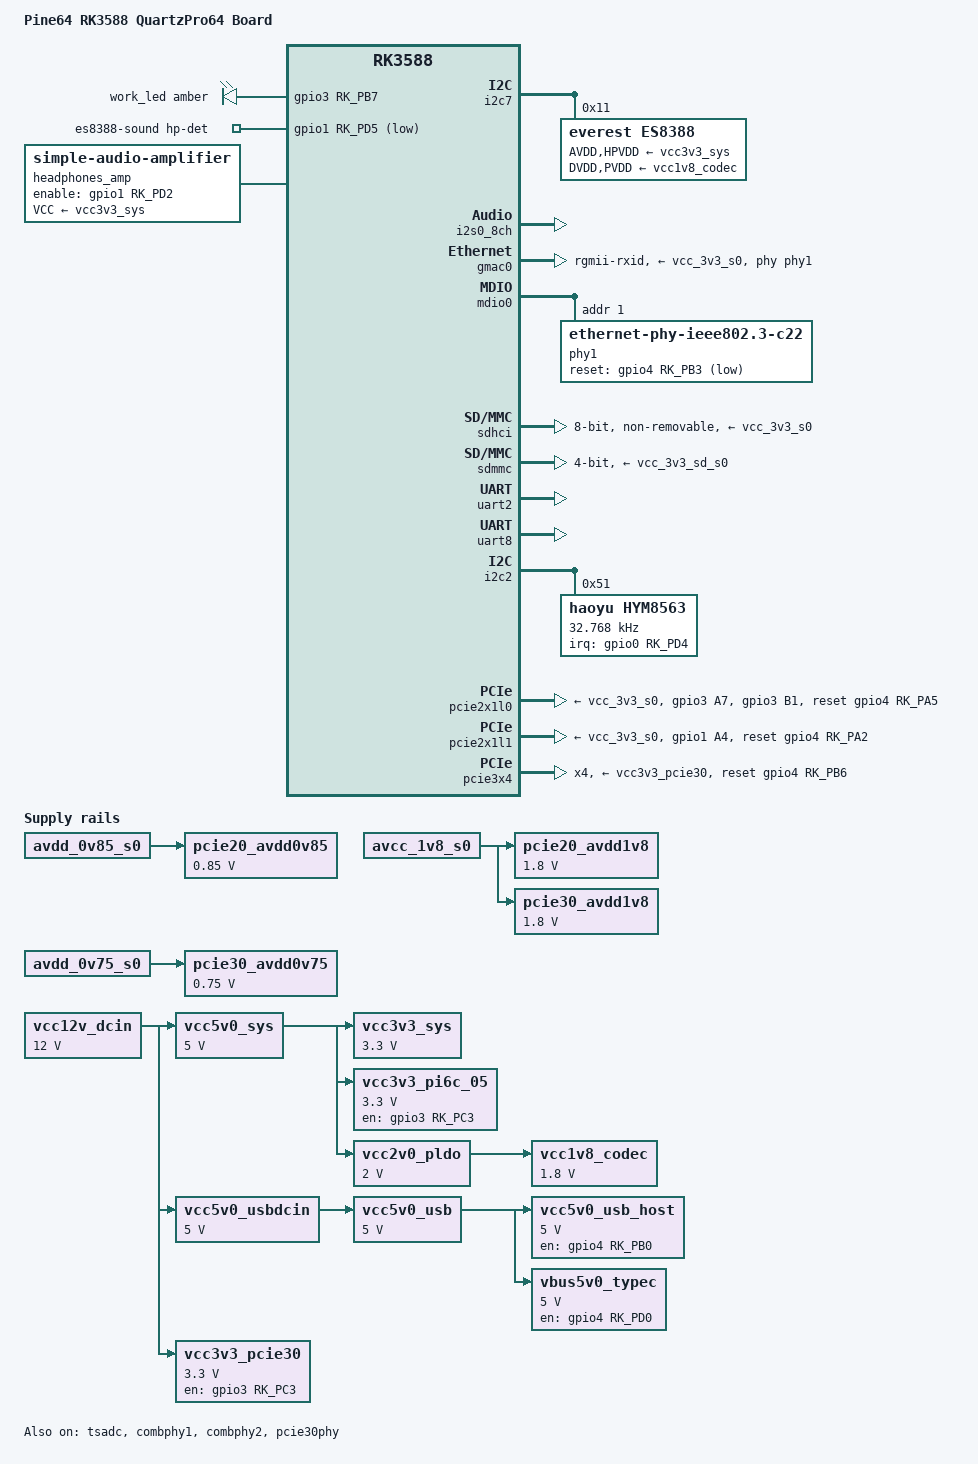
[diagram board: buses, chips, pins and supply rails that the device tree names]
// SPDX-License-Identifier: (GPL-2.0+ OR MIT)
/*
 * Copyright (c) 2021 Rockchip Electronics Co., Ltd.
 *
 */

/dts-v1/;

#include <dt-bindings/pinctrl/rockchip.h>
#include <dt-bindings/gpio/gpio.h>
#include <dt-bindings/leds/common.h>
#include <dt-bindings/interrupt-controller/irq.h>
#include "rk3588.dtsi"
#include "rk3588-rk806-dual.dtsi"

/ {
	model = "Pine64 RK3588 QuartzPro64 Board";
	compatible = "pine64,quartzpro64", "rockchip,rk3588";

	chosen {
		stdout-path = "serial2:1500000n8";
	};

	leds {
		compatible = "gpio-leds";
		work_led: led-0 {
			gpios = <&gpio3 RK_PB7 GPIO_ACTIVE_HIGH>;
			linux,default-trigger = "heartbeat";
			function = LED_FUNCTION_STATUS;
			color = <LED_COLOR_ID_AMBER>;
		};
	};

	vcc12v_dcin: vcc12v-dcin {
		compatible = "regulator-fixed";
		regulator-name = "vcc12v_dcin";
		regulator-always-on;
		regulator-boot-on;
		regulator-min-microvolt = <12000000>;
		regulator-max-microvolt = <12000000>;
	};

	vcc3v3_sys: vcc3v3-sys {
		compatible = "regulator-fixed";
		regulator-name = "vcc3v3_sys";
		regulator-boot-on;
		regulator-min-microvolt = <3300000>;
		regulator-max-microvolt = <3300000>;
		vin-supply = <&vcc5v0_sys>;
	};

	vcc5v0_sys: vcc5v0-sys {
		compatible = "regulator-fixed";
		regulator-name = "vcc5v0_sys";
		regulator-always-on;
		regulator-boot-on;
		regulator-min-microvolt = <5000000>;
		regulator-max-microvolt = <5000000>;
		vin-supply = <&vcc12v_dcin>;
	};

	vcc5v0_usbdcin: vcc5v0-usbdcin {
		compatible = "regulator-fixed";
		regulator-name = "vcc5v0_usbdcin";
		regulator-always-on;
		regulator-boot-on;
		regulator-min-microvolt = <5000000>;
		regulator-max-microvolt = <5000000>;
		vin-supply = <&vcc12v_dcin>;
	};

	vcc5v0_usb: vcc5v0-usb {
		compatible = "regulator-fixed";
		regulator-name = "vcc5v0_usb";
		regulator-always-on;
		regulator-boot-on;
		regulator-min-microvolt = <5000000>;
		regulator-max-microvolt = <5000000>;
		vin-supply = <&vcc5v0_usbdcin>;
	};

	vcc5v0_usb_host: vcc5v0-usb-host {
		compatible = "regulator-fixed";
		regulator-name = "vcc5v0_usb_host";
		regulator-boot-on;
		regulator-always-on;
		regulator-min-microvolt = <5000000>;
		regulator-max-microvolt = <5000000>;
		enable-active-high;
		gpio = <&gpio4 RK_PB0 GPIO_ACTIVE_HIGH>;
		vin-supply = <&vcc5v0_usb>;
		pinctrl-names = "default";
		pinctrl-0 = <&vcc5v0_usb_host_en_h>;
	};

	vcc3v3_pi6c_05: vcc3v3-pi6c-05-regulator {
		compatible = "regulator-fixed";
		regulator-name = "vcc3v3_pi6c_05";
		regulator-min-microvolt = <3300000>;
		regulator-max-microvolt = <3300000>;
		enable-active-high;
		gpios = <&gpio3 RK_PC3 GPIO_ACTIVE_HIGH>;
		startup-delay-us = <5000>;
		vin-supply = <&vcc5v0_sys>;
	};

	vcc3v3_pcie30: vcc3v3-pcie30-regulator {
		compatible = "regulator-fixed";
		regulator-name = "vcc3v3_pcie30";
		regulator-min-microvolt = <3300000>;
		regulator-max-microvolt = <3300000>;
		enable-active-high;
		pinctrl-0 = <&pcie30x4_pwren_h>;
		pinctrl-names = "default";
		gpios = <&gpio3 RK_PC3 GPIO_ACTIVE_HIGH>;
		startup-delay-us = <5000>;
		vin-supply = <&vcc12v_dcin>;
	};

	vbus5v0_typec: vbus5v0-typec {
		compatible = "regulator-fixed";
		regulator-name = "vbus5v0_typec";
		regulator-min-microvolt = <5000000>;
		regulator-max-microvolt = <5000000>;
		enable-active-high;
		gpio = <&gpio4 RK_PD0 GPIO_ACTIVE_HIGH>;
		vin-supply = <&vcc5v0_usb>;
		pinctrl-names = "default";
		pinctrl-0 = <&vcc5v0_usbc_host_en_h>;
	};

	pcie20_avdd0v85: pcie20-avdd0v85 {
		compatible = "regulator-fixed";
		regulator-name = "pcie20_avdd0v85";
		regulator-boot-on;
		regulator-always-on;
		regulator-min-microvolt = <850000>;
		regulator-max-microvolt = <850000>;
		vin-supply = <&avdd_0v85_s0>;
	};

	pcie20_avdd1v8: pcie20-avdd1v8 {
		compatible = "regulator-fixed";
		regulator-name = "pcie20_avdd1v8";
		regulator-boot-on;
		regulator-always-on;
		regulator-min-microvolt = <1800000>;
		regulator-max-microvolt = <1800000>;
		vin-supply = <&avcc_1v8_s0>;
	};

	pcie30_avdd0v75: pcie30-avdd0v75 {
		compatible = "regulator-fixed";
		regulator-name = "pcie30_avdd0v75";
		regulator-boot-on;
		regulator-always-on;
		regulator-min-microvolt = <750000>;
		regulator-max-microvolt = <750000>;
		vin-supply = <&avdd_0v75_s0>;
	};

	pcie30_avdd1v8: pcie30-avdd1v8 {
		compatible = "regulator-fixed";
		regulator-name = "pcie30_avdd1v8";
		regulator-boot-on;
		regulator-always-on;
		regulator-min-microvolt = <1800000>;
		regulator-max-microvolt = <1800000>;
		vin-supply = <&avcc_1v8_s0>;
	};

	vcc2v0_pldo: vcc2v0-pldo {
		compatible = "regulator-fixed";
		regulator-name = "vcc2v0_pldo";
		regulator-boot-on;
		regulator-always-on;
		regulator-min-microvolt = <2000000>;
		regulator-max-microvolt = <2000000>;
		vin-supply = <&vcc5v0_sys>;
	};

	vcc1v8_codec: vcc1v8-codec {
		compatible = "regulator-fixed";
		regulator-name = "vcc1v8_codec";
		regulator-boot-on;
		regulator-min-microvolt = <1800000>;
		regulator-max-microvolt = <1800000>;
		vin-supply = <&vcc2v0_pldo>;
	};

	es8388-sound {
		compatible = "simple-audio-card";
		pinctrl-names = "default";
		pinctrl-0 = <&hp_det_pin>;
		simple-audio-card,name = "Analog ES8388";
		simple-audio-card,format = "i2s";
		simple-audio-card,mclk-fs = <256>;
		simple-audio-card,widgets =
			"Microphone", "Mic Jack",
			"Headphone", "Headphones";
		simple-audio-card,routing =
			"LINPUT1", "Mic Jack",
			"Headphone Amp INL", "LOUT2",
			"Headphone Amp INR", "ROUT2",
			"Headphones", "Headphone Amp OUTL",
			"Headphones", "Headphone Amp OUTR";
		simple-audio-card,hp-det-gpio = <&gpio1 RK_PD5 GPIO_ACTIVE_LOW>;
		simple-audio-card,aux-devs = <&headphones_amp>;
		simple-audio-card,pin-switches = "Headphones";

		simple-audio-card,codec {
			sound-dai = <&es8388>;
		};

		simple-audio-card,cpu {
			sound-dai = <&i2s0_8ch>;
		};
	};

	/* not amplifier, used as switcher only */
	headphones_amp: headphones-amp {
		compatible = "simple-audio-amplifier";
		pinctrl-names = "default";
		pinctrl-0 = <&phone_ctl_pin>;
		enable-gpios = <&gpio1 RK_PD2 GPIO_ACTIVE_HIGH>;
		sound-name-prefix = "Headphone Amp";
		VCC-supply = <&vcc3v3_sys>;
	};
};

&i2c7 {
	status = "okay";
	es8388: es8388@11 {
		compatible = "everest,es8388", "everest,es8323";
		reg = <0x11>;
		assigned-clocks = <&cru I2S0_8CH_MCLKOUT>;
		assigned-clock-rates = <12288000>;
		AVDD-supply = <&vcc3v3_sys>;
		clocks = <&cru I2S0_8CH_MCLKOUT>;
		clock-names = "mclk";
		HPVDD-supply = <&vcc3v3_sys>;
		pinctrl-names = "default";
		pinctrl-0 = <&i2s0_mclk>;
		DVDD-supply = <&vcc1v8_codec>;
		PVDD-supply = <&vcc1v8_codec>;
		#sound-dai-cells = <0>;
		status = "okay";
	};
};

&i2s0_8ch {
	pinctrl-names = "default";
	pinctrl-0 = <&i2s0_lrck
		     &i2s0_sclk
		     &i2s0_sdi0
		     &i2s0_sdo0>;
	rockchip,trcm-sync-tx-only;
	status = "okay";
};

&cpu_l0 {
	cpu-supply = <&vdd_cpu_lit_s0>;
	mem-supply = <&vdd_cpu_lit_mem_s0>;
};

&cpu_b0 {
	cpu-supply = <&vdd_cpu_big0_s0>;
	mem-supply = <&vdd_cpu_big0_mem_s0>;
};

&cpu_b2 {
	cpu-supply = <&vdd_cpu_big1_s0>;
	mem-supply = <&vdd_cpu_big1_mem_s0>;
};

&tsadc {
	status = "okay";
};

&gpu {
	mali-supply = <&vdd_gpu_s0>;
	mem-supply = <&vdd_gpu_mem_s0>;
	status = "disabled";
};

&gmac0 {
	label = "RJ45";
	phy-mode = "rgmii-rxid";
	clock_in_out = "output";

	pinctrl-names = "default";
	pinctrl-0 = <&gmac0_miim
		     &gmac0_tx_bus2
		     &gmac0_rx_bus2
		     &gmac0_rgmii_clk
		     &gmac0_rgmii_bus>;

	tx_delay = <0x43>;
	rx_delay = <0x00>;

	phy-handle = <&phy1>;
	phy-supply = <&vcc_3v3_s0>;
	status = "okay";
};

&mdio0 {
	phy1: ethernet-phy@1 {
		compatible = "ethernet-phy-ieee802.3-c22";
		reg = <1>;
		max-speed = <1000>;
		/* Reset time is 20ms, 100ms for rtl8211f */
		reset-gpios = <&gpio4 RK_PB3 GPIO_ACTIVE_LOW>;
		reset-assert-us = <20000>;
		reset-deassert-us = <100000>;
	};
};

&sdhci {
	bus-width = <8>;
	no-sdio;
	no-sd;
	non-removable;
	max-frequency = <150000000>;
	mmc-hs200-1_8v;
	// mmc-hs400-1_8v;
	// mmc-hs400-enhanced-strobe;
	vmmc-supply = <&vcc_3v3_s0>;
	vqmmc-supply = <&vcc_1v8_s0>;
	pinctrl-names = "default";
	pinctrl-0 = <&emmc_bus8
		     &emmc_clk
		     &emmc_cmd
		     &emmc_data_strobe
		     &emmc_rstnout>;
	status = "okay";
};

&sdmmc {
	max-frequency = <150000000>;
	no-sdio;
	no-mmc;
	bus-width = <4>;
	cap-sd-highspeed;
	disable-wp;
	vmmc-supply = <&vcc_3v3_sd_s0>;
	vqmmc-supply = <&vccio_sd_s0>;
	pinctrl-names = "default";
	pinctrl-0 = <&sdmmc_bus4 &sdmmc_clk &sdmmc_cmd &sdmmc_det>;
	status = "okay";
};

&uart2 {
	pinctrl-names = "default";
	pinctrl-0 = <&uart2m0_xfer>;
	status = "okay";
};

&uart8 {
	status = "okay";
	pinctrl-names = "default";
	pinctrl-0 = <&uart8m1_xfer &uart8m1_rtsn>;
	uart-has-rtscts;

	bluetooth {
		compatible = "brcm,bcm4375-bt";
		max-speed = <921600>;
		clocks = <&hym8563>;
		clock-names = "lpo";
		pinctrl-names = "default";
		pinctrl-0 = <&bt_pwren_gpio &bt_wake_gpio &bt_irq_gpio>;
		shutdown-gpios = <&gpio3 RK_PA6 GPIO_ACTIVE_HIGH>;
		device-wakeup-gpios = <&gpio3 RK_PA1 GPIO_ACTIVE_HIGH>;
		interrupt-parent = <&gpio3>;
		interrupts = <RK_PA0 GPIO_ACTIVE_HIGH>;
		status = "disabled";
	};
};

&i2c2 {
	status = "okay";

	hym8563: hym8563@51 {
		compatible = "haoyu,hym8563";
		reg = <0x51>;
		#clock-cells = <0>;
		clock-frequency = <32768>;
		clock-output-names = "hym8563";
		pinctrl-names = "default";
		pinctrl-0 = <&hym8563_int>;
		interrupt-parent = <&gpio0>;
		interrupts = <RK_PD4 IRQ_TYPE_LEVEL_LOW>;
		wakeup-source;
	};
};

&combphy1 {
	// pinctrl-names = "default";
	// pinctrl-0 = <&pcie30x1m1_pins>;
	phy-supply = <&vcc3v3_pi6c_05>;
	status = "okay";
};

&pcie2x1l0 {
	reset-gpios = <&gpio4 RK_PA5 GPIO_ACTIVE_HIGH>;
	vpcie3v3-supply = <&vcc_3v3_s0>;
	pinctrl-0 = <&wifi_wake_host_h &wifi_pwr_en_h>;
	pinctrl-names = "default";
	status = "okay";

	// ap6275p: wifi@0,0 {
	// 	compatible = "brcm,bcm43455";
	// 	reg = <0x0000 0 0 0 0>;
	// 	pinctrl-0 = <&wifi_wake_host_h &wifi_pwr_en_h>;
	// 	pinctrl-names = "default";
	// 	wakeup-source;
	// 	interrupt-parent = <&gpio3>;
	// 	interrupts = <RK_PA7 IRQ_TYPE_LEVEL_HIGH>;
	// 	reset-gpios = <&gpio3 RK_PB1 GPIO_ACTIVE_LOW>;
	// };
};

&combphy2 {
	// pinctrl-names = "default";
	// pinctrl-0 = <&pcie30x1m1_pins>;
	phy-supply = <&vcc3v3_pi6c_05>;
	status = "okay";
};

&pcie2x1l1 {
	reset-gpios = <&gpio4 RK_PA2 GPIO_ACTIVE_HIGH>;
	pinctrl-names = "default";
	pinctrl-0 = <&rtl8111_isolate>;
	vpcie3v3-supply = <&vcc_3v3_s0>;
	status = "okay";
};

&pcie30phy {
	data-lanes = <1 1 1 1>;
	// pinctrl-names = "default";
	// pinctrl-0 = <&pcie30x4m1_pins>;
	phy-supply = <&vcc3v3_pi6c_05>;
	status = "okay";
};

&pcie3x4 {
	/* PCIe 3.0 x4 open-ended slot */
	num-lanes = <4>;
	reset-gpios = <&gpio4 RK_PB6 GPIO_ACTIVE_HIGH>;
	vpcie3v3-supply = <&vcc3v3_pcie30>;
	status = "okay";
};

&pinctrl {
	es8388 {
		phone_ctl_pin: phone-ctl-pin {
			rockchip,pins = <1 RK_PD2 RK_FUNC_GPIO &pcfg_output_high>;
		};

		hp_det_pin: hp-det-pin {
			rockchip,pins = <1 RK_PD5 RK_FUNC_GPIO &pcfg_pull_up>;
		};
	};
	hym8563 {
		hym8563_int: hym8563-int {
			rockchip,pins = <0 RK_PD4 RK_FUNC_GPIO &pcfg_pull_up>;
		};
	};

	rtl8111 {
		rtl8111_isolate: rtl8111-isolate {
			rockchip,pins = <1 RK_PA4 RK_FUNC_GPIO &pcfg_pull_up>;
		};
	};

	pcie30x4 {
		pcie30x4_pwren_h: pcie30x4-pwren-h {
			rockchip,pins = <3 RK_PC3 RK_FUNC_GPIO &pcfg_pull_none>;
		};
	};

	usb {
		vcc5v0_usb_host_en_h: vcc5v0-usb-host-en-h {
			rockchip,pins = <4 RK_PB0 RK_FUNC_GPIO &pcfg_pull_none>;
		};
	};

	usb-typec {
		usbc0_int: usbc0-int {
			rockchip,pins = <3 RK_PB4 RK_FUNC_GPIO &pcfg_pull_up>;
		};

		vcc5v0_usbc_host_en_h: typec5v-pwren {
			rockchip,pins = <0 RK_PC5 RK_FUNC_GPIO &pcfg_pull_none>;
		};
	};

	wireless-bluetooth {
		bt_pwren_gpio: bt-pwren-gpio {
			rockchip,pins = <3 RK_PA6 RK_FUNC_GPIO &pcfg_pull_none>;
		};

		bt_wake_gpio: bt-wake-gpio {
			rockchip,pins = <3 RK_PA1 RK_FUNC_GPIO &pcfg_pull_none>;
		};

		bt_irq_gpio: bt-irq-gpio {
			rockchip,pins = <3 RK_PA0 RK_FUNC_GPIO &pcfg_pull_down>;
		};
	};

	wireless-wlan {
		wifi_wake_host_h: wifi-wake-host-h {
			rockchip,pins = <3 RK_PA7 RK_FUNC_GPIO &pcfg_pull_down>;
		};

		wifi_pwr_en_h: wifi-pwren-h {
			rockchip,pins = <3 RK_PB1 RK_FUNC_GPIO &pcfg_pull_up>;
		};
	};
};
